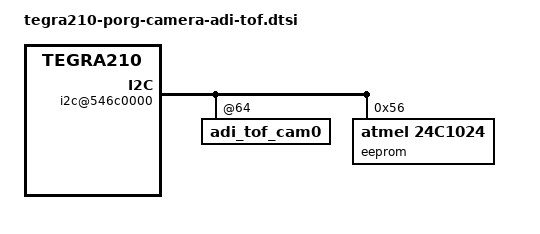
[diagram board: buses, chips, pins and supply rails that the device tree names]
/*
 * Copyright (c) 2018-2019, NVIDIA CORPORATION.  All rights reserved.
 *
 * This program is free software; you can redistribute it and/or modify
 * it under the terms of the GNU General Public License as published by
 * the Free Software Foundation; either version 2 of the License, or
 * (at your option) any later version.
 *
 * This program is distributed in the hope that it will be useful, but WITHOUT
 * ANY WARRANTY; without even the implied warranty of MERCHANTABILITY or
 * FITNESS FOR A PARTICULAR PURPOSE.  See the GNU General Public License for
 * more details.
 *
 * You should have received a copy of the GNU General Public License
 * along with this program.  If not, see <http://www.gnu.org/licenses/>.
 */

#include "tegra210-camera-adi-tof.dtsi"

/ {
    host1x {
		i2c@546c0000 {
			adi_tof_cam0@64 {
				status = "okay";
			};
			
			eeprom: eeprom@56 {
				compatible = "atmel,24c1024";
				reg = <0x56>;
				pagesize = <32>;
			};
		};
	};
};
